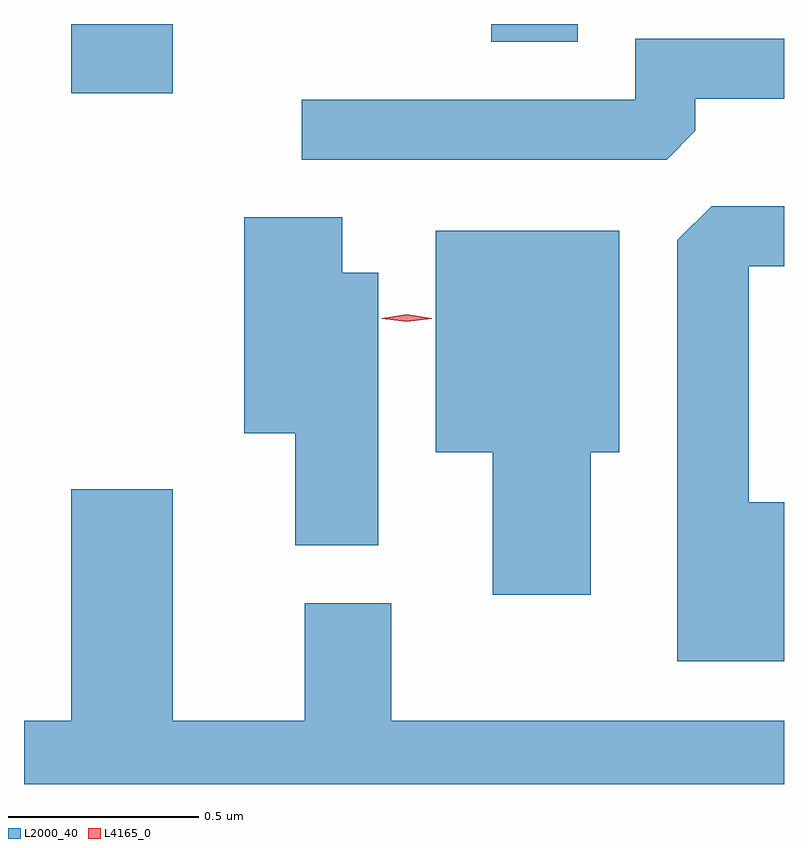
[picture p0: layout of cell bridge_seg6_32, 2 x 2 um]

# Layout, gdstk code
import gdstk
lib = gdstk.Library(unit=1e-6, precision=1e-09)
def R(c, l, rs):  # rectangles x0, y0, x1, y1
    for r in rs: c.add(gdstk.rectangle(r[:2], r[2:], *l))
def P(c, l, *ps):  # polygons
    for p in ps: c.add(gdstk.Polygon(p, *l))
L2000_40 = (2000, 40)
L4165_0 = (4165, 0)

bridge_seg6_32 = lib.new_cell('bridge_seg6_32')
R(bridge_seg6_32, L2000_40, [(1833.456,1649.636,1833.724,1649.818), (1834.561,1649.771,1834.789,1649.818)])
P(bridge_seg6_32, L2000_40, [(1835.099,1649.537),(1835.099,1649.621),(1835.332,1649.621),(1835.332,1649.779),(1834.941,1649.779),(1834.941,1649.619),(1834.063,1649.619),(1834.063,1649.461),(1835.024,1649.461)],
  [(1835.332,1648.559),(1835.239,1648.559),(1835.239,1649.181),(1835.332,1649.181),(1835.332,1649.339),(1835.142,1649.339),(1835.051,1649.249),(1835.051,1648.141),(1835.332,1648.141)],
  [(1834.264,1649.164),(1834.169,1649.164),(1834.169,1649.309),(1833.911,1649.309),(1833.911,1648.741),(1834.046,1648.741),(1834.046,1648.446),(1834.264,1648.446)],
  [(1834.824,1648.691),(1834.899,1648.691),(1834.899,1649.274),(1834.416,1649.274),(1834.416,1648.691),(1834.566,1648.691),(1834.566,1648.316),(1834.824,1648.316)],
  [(1835.332,1647.984),(1834.299,1647.984),(1834.299,1648.294),(1834.071,1648.294),(1834.071,1647.984),(1833.724,1647.984),(1833.724,1648.594),(1833.456,1648.594),(1833.456,1647.984),(1833.332,1647.984),(1833.332,1647.818),(1835.332,1647.818)])
P(bridge_seg6_32, L4165_0, [(1834.339,1649.034),(1834.273,1649.043),(1834.273,1649.044),(1834.273,1649.044),(1834.339,1649.054),(1834.405,1649.044),(1834.405,1649.044),(1834.405,1649.043)])

lib.write_gds('bridge_seg6_32.gds')
